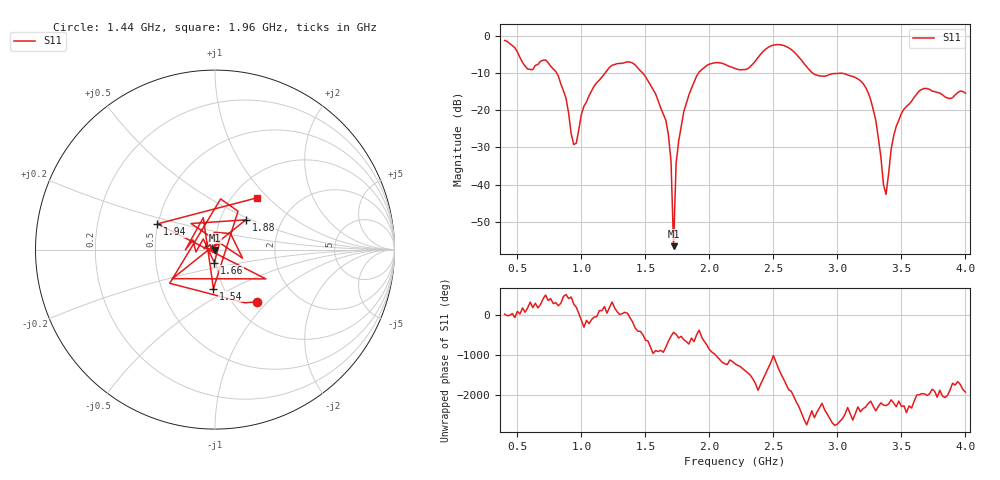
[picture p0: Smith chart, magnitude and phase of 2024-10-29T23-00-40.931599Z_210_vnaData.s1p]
!Created with skrf (http://scikit-rf.org).
# Hz S RI R 50.0
!freq ReS11 ImS11
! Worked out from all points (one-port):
!   181 points, 400 MHz to 4 GHz, reference 50 ohm
!   lowest |S11| = -56.5 dB at 1.72 GHz (marker M1), VSWR 1.00, Z = 50 - j0.149 ohm
!   |S11| at or under -10 dB: 806.6 MHz to 1.185 GHz (378.9 MHz wide, 38 % of centre); 1.478 GHz to 1.915 GHz (436.4 MHz wide, 25.7 % of centre); 2.806 GHz to end of sweep
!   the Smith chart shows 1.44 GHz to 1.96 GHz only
!   S11 on the Smith chart (normalised r, x): 1.44 GHz: 1.28, -0.86; 1.54 GHz: 0.90, -0.41; 1.66 GHz: 0.98, -0.14; 1.88 GHz: 1.32, +0.47; 1.94 GHz: 0.50, +0.16; 1.96 GHz: 1.29, +0.87
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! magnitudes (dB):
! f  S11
! 400 MHz  -1.3
! 580 MHz  -8.9
! 720 MHz  -6.5
! 860 MHz  -14.8
! 940 MHz  -29.2
! 1.1 GHz  -13.5
! 1.3 GHz  -7.4
! 1.44 GHz  -8.6
! 1.54 GHz  -13.3
! 1.66 GHz  -22.7
! 1.7 GHz  -33.6
! 1.72 GHz  -56.5
! 1.74 GHz  -34.2
! 1.76 GHz  -28.3
! 1.88 GHz  -12.4
! 1.94 GHz  -9.1
! 1.96 GHz  -8.6
! 2.2 GHz  -8.8
! 2.5 GHz  -2.5
! 2.66 GHz  -4.3
! 2.82 GHz  -10.4
! 3.1 GHz  -10.8
! 3.26 GHz  -17.2
! 3.38 GHz  -42.6
! 3.44 GHz  -26.8
! 3.56 GHz  -18.4
! 3.68 GHz  -14.1
! 4 GHz  -15.4
